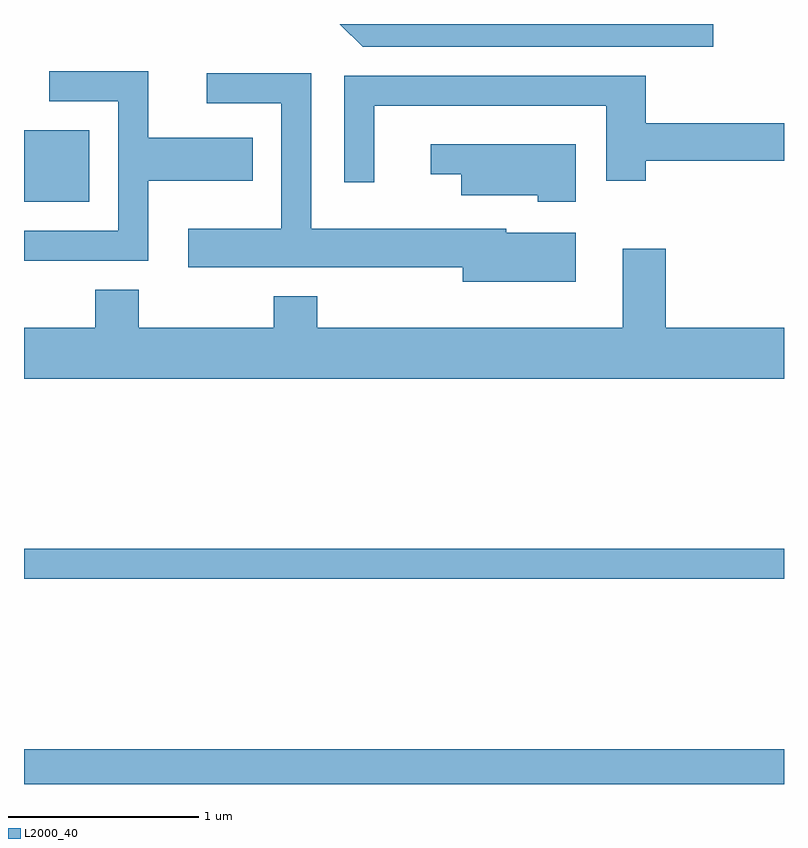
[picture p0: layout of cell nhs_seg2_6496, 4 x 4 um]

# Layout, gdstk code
import gdstk
lib = gdstk.Library(unit=1e-6, precision=1e-09)
def R(c, l, rs):  # rectangles x0, y0, x1, y1
    for r in rs: c.add(gdstk.rectangle(r[:2], r[2:], *l))
def P(c, l, *ps):  # polygons
    for p in ps: c.add(gdstk.Polygon(p, *l))
L2000_40 = (2000, 40)

nhs_seg2_6496 = lib.new_cell('nhs_seg2_6496')
R(nhs_seg2_6496, L2000_40, [(377.611,981.802,381.611,981.984), (377.611,982.881,381.611,983.039), (377.611,984.866,377.954,985.244)])
P(nhs_seg2_6496, L2000_40, [(381.238,985.802),(379.273,985.802),(379.394,985.681),(381.238,985.681)],
  [(378.264,984.976),(378.814,984.976),(378.814,985.204),(378.264,985.204),(378.264,985.554),(377.743,985.554),(377.743,985.396),(378.106,985.396),(378.106,984.714),(377.611,984.714),(377.611,984.556),(378.264,984.556)],
  [(380.514,984.704),(380.149,984.704),(380.149,984.724),(379.124,984.724),(379.124,985.544),(378.573,985.544),(378.573,985.386),(378.966,985.386),(378.966,984.724),(378.476,984.724),(378.476,984.521),(379.921,984.521),(379.921,984.446),(380.514,984.446)],
  [(379.454,985.371),(380.676,985.371),(380.676,984.976),(380.884,984.976),(380.884,985.081),(381.611,985.081),(381.611,985.279),(380.884,985.279),(380.884,985.529),(379.296,985.529),(379.296,984.968),(379.454,984.968)],
  [(380.514,985.169),(379.753,985.169),(379.753,985.011),(379.911,985.011),(379.911,984.901),(380.316,984.901),(380.316,984.866),(380.514,984.866)],
  [(381.611,984.204),(380.989,984.204),(380.989,984.619),(380.761,984.619),(380.761,984.204),(379.154,984.204),(379.154,984.369),(378.926,984.369),(378.926,984.204),(378.214,984.204),(378.214,984.404),(377.986,984.404),(377.986,984.204),(377.611,984.204),(377.611,983.936),(381.611,983.936)])

lib.write_gds('nhs_seg2_6496.gds')
